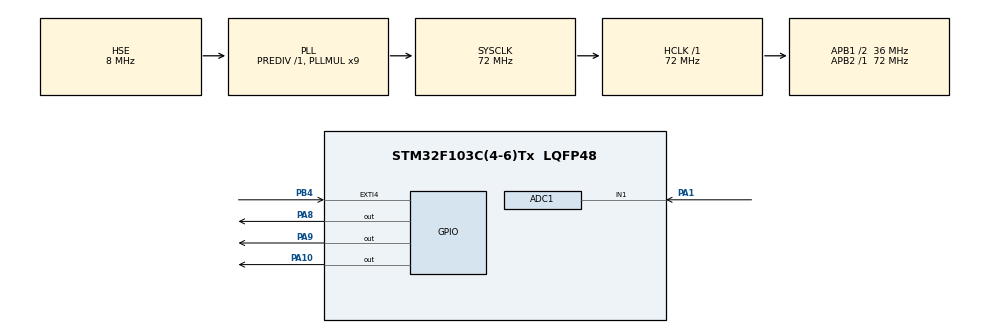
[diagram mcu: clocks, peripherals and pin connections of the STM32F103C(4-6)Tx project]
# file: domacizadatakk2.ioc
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ADC1.Channel-0\#ChannelRegularConversion=ADC_CHANNEL_1
ADC1.NbrOfConversionFlag=1
ADC1.Rank-0\#ChannelRegularConversion=1
ADC1.SamplingTime-0\#ChannelRegularConversion=ADC_SAMPLETIME_1CYCLE_5
ADC1.master=1
Mcu.Family=STM32F1
Mcu.Name=STM32F103C(4-6)Tx
Mcu.Package=LQFP48
NVIC.EXTI4_IRQn=true\:0\:0\:false\:false\:true\:true\:true\:true
NVIC.PriorityGroup=NVIC_PRIORITYGROUP_4
PA1.Signal=ADCx_IN1
PA10.Signal=GPIO_Output
PA8.Signal=GPIO_Output
PA9.Signal=GPIO_Output
PB4.Signal=GPXTI4
PC14-OSC32_IN.Mode=LSE-External-Oscillator
PC14-OSC32_IN.Signal=RCC_OSC32_IN
PC15-OSC32_OUT.Mode=LSE-External-Oscillator
PC15-OSC32_OUT.Signal=RCC_OSC32_OUT
PD0-OSC_IN.Mode=HSE-External-Oscillator
PD0-OSC_IN.Signal=RCC_OSC_IN
PD1-OSC_OUT.Mode=HSE-External-Oscillator
PD1-OSC_OUT.Signal=RCC_OSC_OUT
ProjectManager.HeapSize=0x200
ProjectManager.StackSize=0x400
ProjectManager.TargetToolchain=STM32CubeIDE
RCC.ADCPresc=RCC_ADCPCLK2_DIV6
RCC.AHBFreq_Value=72000000
RCC.APB1CLKDivider=RCC_HCLK_DIV2
RCC.APB1Freq_Value=36000000
RCC.APB1TimFreq_Value=72000000
RCC.APB2Freq_Value=72000000
RCC.APB2TimFreq_Value=72000000
RCC.HCLKFreq_Value=72000000
RCC.PLLMUL=RCC_PLL_MUL9
RCC.PLLSourceVirtual=RCC_PLLSOURCE_HSE
RCC.SYSCLKFreq_VALUE=72000000
RCC.SYSCLKSource=RCC_SYSCLKSOURCE_PLLCLK
RCC.USBFreq_Value=72000000
SH.ADCx_IN1.0=ADC1_IN1,IN1
board=custom

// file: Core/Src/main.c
/* USER CODE BEGIN Header */
/**
  ******************************************************************************
  * @file           : main.c
  * @brief          : Main program body
  ******************************************************************************
  * @attention
  *
  * Copyright (c) 2023 STMicroelectronics.
  * All rights reserved.
  *
  * This software is licensed under terms that can be found in the LICENSE file
  * in the root directory of this software component.
  * If no LICENSE file comes with this software, it is provided AS-IS.
  *
  ******************************************************************************
  */
/* USER CODE END Header */
#include "main.h"

#include "stm32f1xx.h"
#include "stm32f1xx_hal.h"
#include <stdio.h>
#include "stdlib.h"
/* USER CODE BEGIN Includes */
#define MAX_ARRAY_LENGTH 14
#define STEP_PIN GPIO_PIN_8
#define DIR_PIN GPIO_PIN_9
#define ENABLE_PIN GPIO_PIN_10
#define PWM_FREQ 1000
#define STEPS_PER_REV 200
#define MICROSTEPS 15
#define STEPS_PER_MICROSTEP (1.8*MICROSTEPS)
int tubes[MAX_ARRAY_LENGTH] = {2, 2, 3, 0, 3, 0, 0, 1, 2, 1, 2, 1, 0, 3};

/* Private includes ----------------------------------------------------------*/
/* USER CODE BEGIN Includes */

/* USER CODE END Includes */

ADC_HandleTypeDef hadc1;

uint8_t arraylength=MAX_ARRAY_LENGTH;
uint8_t flagTaster = 0;
int currentPosition = 0;//follow the position of motor
void SystemClock_Config(void);
static void MX_GPIO_Init(void);
static void MX_ADC1_Init(void);
/* USER CODE BEGIN PFP */
void HAL_GPIO_EXTI_Callback(uint16_t GPIO_Pin){
	flagTaster = 1;
}
float calculateTemperature(uint16_t adcValue) {
    float referenceVoltage = 3.3;
    uint16_t adcMaxValue = 4095;

    float voltage = (float)adcValue*referenceVoltage / adcMaxValue ;
    voltage=voltage-0.5;
	float temperature = voltage*100;//using the TMP36 temperature sensor, which has an offset

    return temperature;
}
void rotateTubes() {
    // storing the value of the first tube
    int lastTube = tubes[MAX_ARRAY_LENGTH-1];

    // Moving all tubes forward
    for (int i = 0; i < MAX_ARRAY_LENGTH - 1; i++) {
        tubes[i] = tubes[i + 1];
    }

    // Placing the value of the first tube at the last position
    tubes[0] = lastTube;
}

void step_motor(uint16_t steps, uint8_t dir)
{
// Set the DIR pin to the desired direction
	    if(dir > 0)
	    {
	        HAL_GPIO_WritePin(GPIOA, DIR_PIN, GPIO_PIN_SET);
	    }
	    else
	    {
	        HAL_GPIO_WritePin(GPIOA, DIR_PIN, GPIO_PIN_RESET);
	    }
// Generate the desired number of steps
    for (uint16_t i = 0; i < steps; i++)
    {
        // Generate a pulse on the STEP pin
        HAL_GPIO_WritePin(GPIOA, STEP_PIN,GPIO_PIN_SET);
        HAL_Delay(1000);
        HAL_GPIO_WritePin(GPIOA, STEP_PIN,GPIO_PIN_RESET);
        HAL_Delay(1000);

    }
    currentPosition += dir;//current position in tubes
}
int findClosestTube(int value,int stepsPerUnit,int *stepsToMove) {
    int minDistance = MAX_ARRAY_LENGTH;  //
    int closestIndex = -1;

    for (int i = 0; i < MAX_ARRAY_LENGTH; i++) {
        int distance = abs(tubes[i] - value);
        if (distance < minDistance) {
            minDistance = distance;
            closestIndex = i;
        }
    }
        *stepsToMove = minDistance * stepsPerUnit;
        int direction = (closestIndex < currentPosition) ? -1 : 1;

            // Moving motor
      HAL_GPIO_WritePin(GPIOA, ENABLE_PIN, GPIO_PIN_SET);
      step_motor(*stepsToMove, direction);
       return closestIndex;
    }

    // returning the closest Tube

void removeTube(int index) {
    if (index >= 0 && index < MAX_ARRAY_LENGTH) {
        //f the index is valid, shift all elements forward to replace the previous one.

    	//if the index is valid, shift all elements forward to replace the previous one.
    	tubes[index]=10;
    }
}

/* USER CODE END PFP */

int main(void)

{
   HAL_GPIO_WritePin(GPIOA,ENABLE_PIN,GPIO_PIN_RESET);

  /* MCU Configuration--------------------------------------------------------*/

  /* Reset of all peripherals, Initializes the Flash interface and the Systick. */
  HAL_Init();

  /* Configure the system clock */
  SystemClock_Config();

  /* Initialize all configured peripherals */
  MX_GPIO_Init();
  MX_ADC1_Init();

  /* Infinite loop */
  /* USER CODE BEGIN WHILE */
  while (1)
  {
	  uint16_t AD_RES = 0;
	  if (flagTaster == 1) {
			  HAL_ADC_Start(&hadc1);
		      HAL_ADC_PollForConversion(&hadc1, 100);
		      AD_RES = HAL_ADC_GetValue(&hadc1);
		      flagTaster = 0;
		          }
     float temperature = calculateTemperature(AD_RES);//calculating temeprature
	 if(temperature<70){
		  HAL_GPIO_WritePin(GPIOA,ENABLE_PIN,GPIO_PIN_SET);
		  step_motor(STEPS_PER_REV*MICROSTEPS,1);
		  rotateTubes();
		  HAL_Delay(1000);
		  }
	else{
		HAL_GPIO_WritePin(GPIOA,ENABLE_PIN,GPIO_PIN_RESET);
		int selectedTube = 2;
		int stepsToMove;
        int index = findClosestTube(selectedTube,STEPS_PER_REV*MICROSTEPS, &stepsToMove);
        removeTube(index);
        HAL_GPIO_WritePin(GPIOA, ENABLE_PIN, GPIO_PIN_SET);
        step_motor(STEPS_PER_REV * MICROSTEPS * currentPosition, -1);
	}
    /* USER CODE END WHILE */

  }
}

void SystemClock_Config(void)
{
  RCC_OscInitTypeDef RCC_OscInitStruct = {0};
  RCC_ClkInitTypeDef RCC_ClkInitStruct = {0};
  RCC_PeriphCLKInitTypeDef PeriphClkInit = {0};

  /** Initializes the RCC Oscillators according to the specified parameters
  * in the RCC_OscInitTypeDef structure.
  */
  RCC_OscInitStruct.OscillatorType = RCC_OSCILLATORTYPE_HSE;
  RCC_OscInitStruct.HSEState = RCC_HSE_ON;
  RCC_OscInitStruct.HSEPredivValue = RCC_HSE_PREDIV_DIV1;
  RCC_OscInitStruct.HSIState = RCC_HSI_ON;
  RCC_OscInitStruct.PLL.PLLState = RCC_PLL_ON;
  RCC_OscInitStruct.PLL.PLLSource = RCC_PLLSOURCE_HSE;
  RCC_OscInitStruct.PLL.PLLMUL = RCC_PLL_MUL9;
  if (HAL_RCC_OscConfig(&RCC_OscInitStruct) != HAL_OK)
  {
    Error_Handler();
  }

  /** Initializes the CPU, AHB and APB buses clocks
  */
  RCC_ClkInitStruct.ClockType = RCC_CLOCKTYPE_HCLK|RCC_CLOCKTYPE_SYSCLK
                              |RCC_CLOCKTYPE_PCLK1|RCC_CLOCKTYPE_PCLK2;
  RCC_ClkInitStruct.SYSCLKSource = RCC_SYSCLKSOURCE_PLLCLK;
  RCC_ClkInitStruct.AHBCLKDivider = RCC_SYSCLK_DIV1;
  RCC_ClkInitStruct.APB1CLKDivider = RCC_HCLK_DIV2;
  RCC_ClkInitStruct.APB2CLKDivider = RCC_HCLK_DIV1;

  if (HAL_RCC_ClockConfig(&RCC_ClkInitStruct, FLASH_LATENCY_2) != HAL_OK)
  {
    Error_Handler();
  }
  PeriphClkInit.PeriphClockSelection = RCC_PERIPHCLK_ADC;
  PeriphClkInit.AdcClockSelection = RCC_ADCPCLK2_DIV6;
  if (HAL_RCCEx_PeriphCLKConfig(&PeriphClkInit) != HAL_OK)
  {
    Error_Handler();
  }
}

static void MX_ADC1_Init(void)
{

  ADC_ChannelConfTypeDef sConfig = {0};

  /** Common config
  */
  hadc1.Instance = ADC1;
  hadc1.Init.ScanConvMode = ADC_SCAN_DISABLE;
  hadc1.Init.ContinuousConvMode = DISABLE;
  hadc1.Init.DiscontinuousConvMode = DISABLE;
  hadc1.Init.ExternalTrigConv = ADC_SOFTWARE_START;
  hadc1.Init.DataAlign = ADC_DATAALIGN_RIGHT;
  hadc1.Init.NbrOfConversion = 1;
  if (HAL_ADC_Init(&hadc1) != HAL_OK)
  {
    Error_Handler();
  }

  /** Configure Regular Channel
  */
  sConfig.Channel = ADC_CHANNEL_1;
  sConfig.Rank = ADC_REGULAR_RANK_1;
  sConfig.SamplingTime = ADC_SAMPLETIME_1CYCLE_5;
  if (HAL_ADC_ConfigChannel(&hadc1, &sConfig) != HAL_OK)
  {
    Error_Handler();
  }

}

static void MX_GPIO_Init(void)
{
  GPIO_InitTypeDef GPIO_InitStruct = {0};

  /* GPIO Ports Clock Enable */
  __HAL_RCC_GPIOC_CLK_ENABLE();
  __HAL_RCC_GPIOD_CLK_ENABLE();
  __HAL_RCC_GPIOA_CLK_ENABLE();
  __HAL_RCC_GPIOB_CLK_ENABLE();

  /*Configure GPIO pin Output Level */
  HAL_GPIO_WritePin(GPIOA, GPIO_PIN_8|GPIO_PIN_9|GPIO_PIN_10, GPIO_PIN_RESET);

  /*Configure GPIO pins : PA8 PA9 PA10 */
  GPIO_InitStruct.Pin = GPIO_PIN_8|GPIO_PIN_9|GPIO_PIN_10;
  GPIO_InitStruct.Mode = GPIO_MODE_OUTPUT_PP;
  GPIO_InitStruct.Pull = GPIO_NOPULL;
  GPIO_InitStruct.Speed = GPIO_SPEED_FREQ_LOW;
  HAL_GPIO_Init(GPIOA, &GPIO_InitStruct);

  /*Configure GPIO pin : PB4 */
  GPIO_InitStruct.Pin = GPIO_PIN_4;
  GPIO_InitStruct.Mode = GPIO_MODE_IT_RISING;
  GPIO_InitStruct.Pull = GPIO_NOPULL;
  HAL_GPIO_Init(GPIOB, &GPIO_InitStruct);

  /* EXTI interrupt init*/
  HAL_NVIC_SetPriority(EXTI4_IRQn, 0, 0);
  HAL_NVIC_EnableIRQ(EXTI4_IRQn);

}

void Error_Handler(void)
{
  __disable_irq();
  while (1)
  {
  }
}
